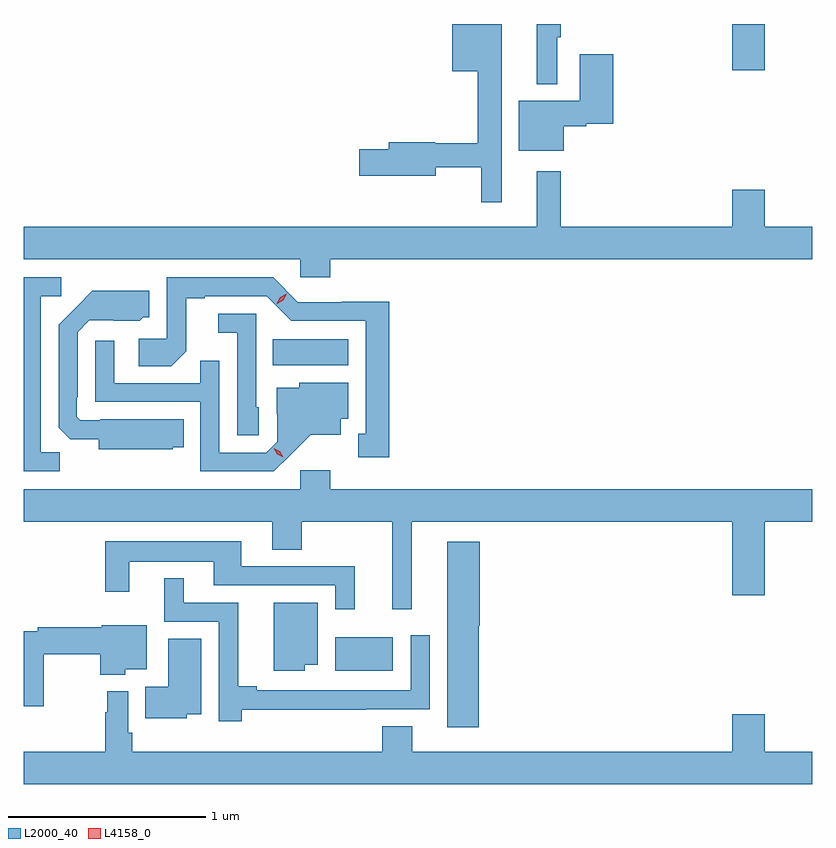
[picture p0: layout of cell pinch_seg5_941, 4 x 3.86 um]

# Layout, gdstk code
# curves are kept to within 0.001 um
import gdstk
lib = gdstk.Library(unit=1e-6, precision=1e-09)
def R(c, l, rs):  # rectangles x0, y0, x1, y1
    for r in rs: c.add(gdstk.rectangle(r[:2], r[2:], *l))
def P(c, l, *ps):  # polygons
    for p in ps: c.add(gdstk.Polygon(p, *l))
L2000_40 = (2000, 40)
L4158_0 = (4158, 0)

pinch_seg5_941 = lib.new_cell('pinch_seg5_941')
R(pinch_seg5_941, L2000_40, [(702.452,910.616,702.745,910.786), (702.136,912.164,702.52,912.298), (704.468,913.662,704.632,913.897)])
P(pinch_seg5_941, L2000_40, [(703.297,913.897),(703.046,913.897),(703.046,913.658),(703.176,913.658),(703.176,913.291),(702.96,913.291),(702.96,913.298),(702.725,913.298),(702.725,913.262),(702.576,913.262),(702.576,913.127),(702.964,913.127),(702.964,913.17),(703.193,913.17),(703.193,912.993),(703.297,912.993)],
  [(703.579,913.831),(703.597,913.831),(703.597,913.897),(703.475,913.897),(703.475,913.592),(703.579,913.592)],
  [(703.612,913.379),(703.728,913.379),(703.728,913.391),(703.865,913.391),(703.865,913.744),(703.694,913.744),(703.694,913.507),(703.385,913.507),(703.385,913.253),(703.612,913.253)],
  [(702.428,912.704),(704.873,912.704),(704.873,912.868),(704.632,912.868),(704.632,913.057),(704.468,913.057),(704.468,912.868),(703.597,912.868),(703.597,913.15),(703.475,913.15),(703.475,912.868),(700.873,912.868),(700.873,912.704),(702.276,912.704),(702.276,912.611),(702.428,912.611)],
  [(702.727,912.488),(702.486,912.488),(702.486,912.486),(702.264,912.486),(702.138,912.612),(701.598,912.612),(701.598,912.3),(701.457,912.3),(701.457,912.16),(701.621,912.16),(701.697,912.236),(701.697,912.504),(701.791,912.504),(701.791,912.516),(702.105,912.516),(702.231,912.39),(702.608,912.39),(702.608,911.817),(702.569,911.817),(702.569,911.697),(702.727,911.697)],
  [(701.055,911.723),(700.959,911.723),(700.959,912.516),(701.062,912.516),(701.062,912.612),(700.873,912.612),(700.873,911.628),(701.055,911.628)],
  [(701.628,911.75),(701.684,911.75),(701.684,911.89),(701.26,911.89),(701.26,911.886),(701.16,911.886),(701.142,911.904),(701.142,912.004),(701.145,912.004),(701.145,912.333),(701.205,912.393),(701.462,912.392),(701.478,912.408),(701.509,912.408),(701.509,912.544),(701.221,912.544),(701.049,912.37),(701.049,911.848),(701.108,911.789),(701.252,911.789),(701.252,911.738),(701.628,911.738)],
  [(702.066,911.952),(702.051,911.952),(702.051,912.426),(701.859,912.426),(701.859,912.329),(701.955,912.329),(701.955,911.809),(702.066,911.809)],
  [(702.226,911.711),(702.329,911.813),(702.481,911.813),(702.481,911.894),(702.52,911.894),(702.52,912.076),(702.27,912.076),(702.27,912.052),(702.155,912.052),(702.155,911.92),(702.159,911.92),(702.159,911.778),(702.102,911.721),(701.865,911.721),(701.865,912.188),(701.767,912.188),(701.767,912.075),(701.331,912.075),(701.331,912.289),(701.235,912.289),(701.235,911.979),(701.769,911.979),(701.769,911.628),(702.142,911.628)],
  [(702.842,911.372),(704.468,911.372),(704.468,910.998),(704.632,910.998),(704.632,911.372),(704.873,911.372),(704.873,911.536),(702.428,911.536),(702.428,911.632),(702.276,911.632),(702.276,911.536),(700.873,911.536),(700.873,911.372),(702.134,911.372),(702.134,911.23),(702.282,911.23),(702.282,911.372),(702.743,911.372),(702.743,910.926),(702.842,910.926)],
  [(702.551,911.145),(701.977,911.145),(701.977,911.272),(701.286,911.272),(701.286,911.016),(701.407,911.016),(701.407,911.168),(701.837,911.168),(701.837,911.049),(702.453,911.049),(702.453,910.926),(702.551,910.926)],
  [(703.181,910.842),(703.186,910.842),(703.186,911.269),(703.022,911.269),(703.022,910.329),(703.181,910.329)],
  [(701.978,910.418),(702.608,910.418),(702.608,910.419),(702.933,910.419),(702.933,910.795),(702.837,910.795),(702.837,910.515),(702.055,910.515),(702.055,910.535),(701.96,910.535),(701.96,910.959),(701.683,910.959),(701.683,911.083),(701.585,911.083),(701.585,910.863),(701.862,910.863),(701.862,910.359),(701.978,910.359)],
  [(702.298,910.646),(702.364,910.646),(702.364,910.96),(702.14,910.96),(702.14,910.616),(702.298,910.616)],
  [(700.974,910.699),(701.26,910.699),(701.26,910.595),(701.388,910.595),(701.388,910.622),(701.497,910.622),(701.497,910.846),(701.267,910.846),(701.267,910.835),(700.942,910.835),(700.942,910.815),(700.873,910.815),(700.873,910.434),(700.974,910.434)],
  [(701.7,910.394),(701.773,910.394),(701.773,910.778),(701.606,910.778),(701.606,910.534),(701.488,910.534),(701.488,910.373),(701.7,910.373)],
  [(704.873,910.204),(704.632,910.204),(704.632,910.393),(704.468,910.393),(704.468,910.204),(702.844,910.204),(702.844,910.334),(702.692,910.334),(702.692,910.204),(701.423,910.204),(701.423,910.3),(701.403,910.3),(701.403,910.51),(701.295,910.51),(701.295,910.403),(701.287,910.403),(701.287,910.204),(700.873,910.204),(700.873,910.04),(704.873,910.04)])
P(pinch_seg5_941, L4158_0, [(702.157,912.477),(702.157,912.477),(702.175,912.51),(702.207,912.528),(702.207,912.528),(702.207,912.528),(702.189,912.496),(702.158,912.477)],
  [(702.189,911.698),(702.158,911.714),(702.141,911.743),(702.141,911.744),(702.141,911.744),(702.172,911.728),(702.189,911.698),(702.189,911.698)])

lib.write_gds('pinch_seg5_941.gds')
